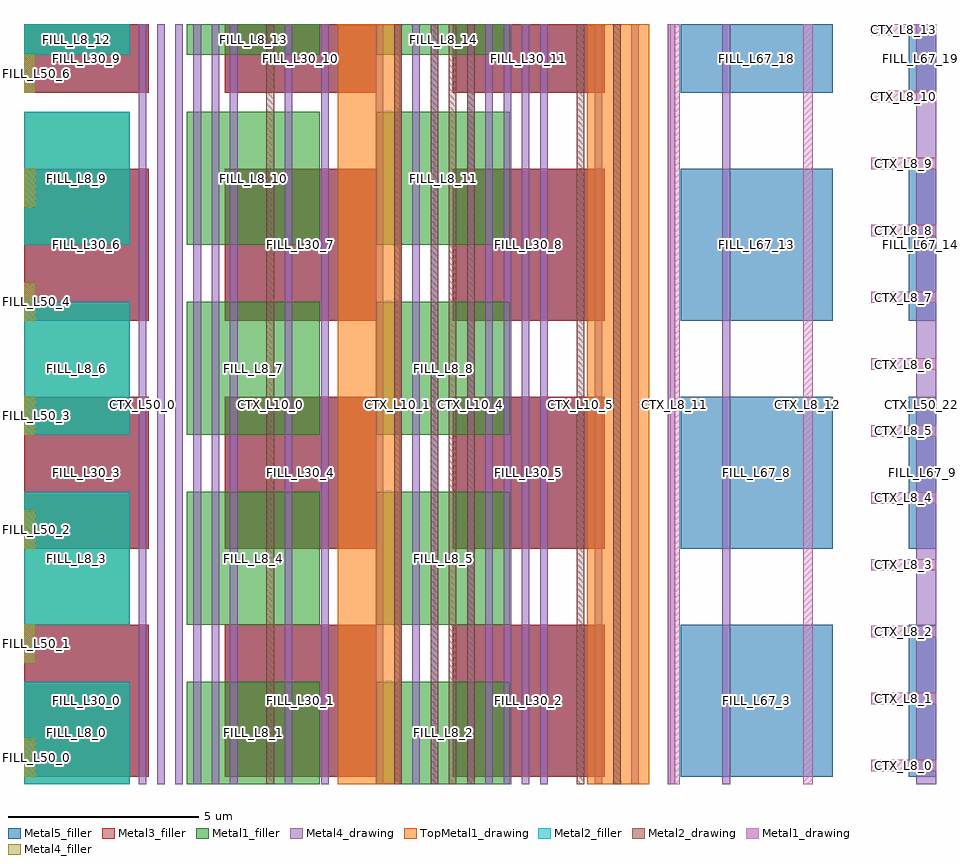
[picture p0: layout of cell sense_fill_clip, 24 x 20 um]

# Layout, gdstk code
import gdstk
lib = gdstk.Library(unit=1e-6, precision=1e-09)
def R(c, l, rs):  # rectangles x0, y0, x1, y1
    for r in rs: c.add(gdstk.rectangle(r[:2], r[2:], *l))
def A(c, l, x, y, w, h, nx, ny, dx, dy):  # array of equal rectangles
    R(c, l, [(x+i*dx, y+j*dy, x+i*dx+w, y+j*dy+h) for i in range(nx) for j in range(ny)])
Metal1_drawing = (8, 0)
Metal1_filler = (8, 22)
Metal2_drawing = (10, 0)
Metal2_filler = (10, 22)
Metal3_filler = (30, 22)
Metal4_drawing = (50, 0)
Metal4_filler = (50, 22)
Metal5_filler = (67, 22)
TopMetal1_drawing = (126, 0)

sense_fill_clip = lib.new_cell('sense_fill_clip')
A(sense_fill_clip, Metal1_drawing, 743.02, 696.15, 1.7, 0.3, 1, 12, 0, 1.76)
R(sense_fill_clip, Metal1_drawing, [(737.72,695.81,737.98,715.81), (741.22,695.81,741.48,715.81)])
A(sense_fill_clip, Metal1_filler, 720.72, 700, 2.78, 3.5, 1, 3, 0, 5)
A(sense_fill_clip, Metal1_filler, 725, 700, 3.5, 3.5, 1, 3, 0, 5)
A(sense_fill_clip, Metal1_filler, 730, 700, 3.5, 3.5, 1, 3, 0, 5)
R(sense_fill_clip, Metal1_filler, [(720.72,695.81,723.5,698.5), (725,695.81,728.5,698.5), (730,695.81,733.5,698.5), (720.72,715,723.5,715.81), (725,715,728.5,715.81), (730,715,733.5,715.81)])
A(sense_fill_clip, Metal2_drawing, 731.42, 695.81, 0.2, 20, 3, 1, 0.48, 0)
R(sense_fill_clip, Metal2_drawing, [(727.1,695.81,727.3,715.81), (730.46,695.81,730.66,715.81), (735.26,695.81,735.46,715.81), (736.22,695.81,736.42,715.81)])
A(sense_fill_clip, Metal2_filler, 720.72, 700, 2.78, 3.5, 1, 3, 0, 5)
R(sense_fill_clip, Metal2_filler, [(720.72,695.81,723.5,698.5), (720.72,715,723.5,715.81)])
A(sense_fill_clip, Metal3_filler, 720.72, 696, 3.28, 4, 1, 3, 0, 6)
A(sense_fill_clip, Metal3_filler, 726, 696, 4, 4, 1, 3, 0, 6)
A(sense_fill_clip, Metal3_filler, 732, 696, 4, 4, 1, 3, 0, 6)
R(sense_fill_clip, Metal3_filler, [(720.72,714,724,715.81), (726,714,730,715.81), (732,714,736,715.81)])
A(sense_fill_clip, Metal4_drawing, 723.74, 695.81, 0.2, 20, 6, 1, 0.48, 0)
A(sense_fill_clip, Metal4_drawing, 729.98, 695.81, 0.2, 20, 4, 1, 0.48, 0)
A(sense_fill_clip, Metal4_drawing, 732.38, 695.81, 0.2, 20, 5, 1, 0.48, 0)
A(sense_fill_clip, Metal4_drawing, 735.74, 695.81, 0.2, 20, 3, 1, 0.48, 0)
R(sense_fill_clip, Metal4_drawing, [(727.58,695.81,727.78,715.81), (728.54,695.81,728.74,715.81), (737.66,695.81,737.86,715.81), (739.1,695.81,739.3,715.81), (744.2,695.81,744.72,715.81)])
A(sense_fill_clip, Metal4_filler, 720.72, 696, 0.28, 1, 1, 7, 0, 3)
A(sense_fill_clip, Metal5_filler, 720.72, 696, 3.28, 4, 1, 3, 0, 6)
A(sense_fill_clip, Metal5_filler, 726, 696, 4, 4, 3, 3, 6, 6)
A(sense_fill_clip, Metal5_filler, 744, 696, 0.72, 4, 1, 3, 0, 6)
A(sense_fill_clip, Metal5_filler, 726, 714, 4, 1.81, 3, 1, 6, 0)
R(sense_fill_clip, Metal5_filler, [(720.72,714,724,715.81), (744,714,744.72,715.81)])
R(sense_fill_clip, TopMetal1_drawing, [(728.98,695.81,730.62,715.81), (735.54,695.81,737.18,715.81)])
sense_fill_clip.add(gdstk.Label('CTX_L8_0', (743.87,696.3), layer=8, texttype=25))
sense_fill_clip.add(gdstk.Label('CTX_L8_1', (743.87,698.06), layer=8, texttype=25))
sense_fill_clip.add(gdstk.Label('CTX_L8_2', (743.87,699.82), layer=8, texttype=25))
sense_fill_clip.add(gdstk.Label('CTX_L8_3', (743.87,701.58), layer=8, texttype=25))
sense_fill_clip.add(gdstk.Label('CTX_L8_4', (743.87,703.34), layer=8, texttype=25))
sense_fill_clip.add(gdstk.Label('CTX_L8_5', (743.87,705.1), layer=8, texttype=25))
sense_fill_clip.add(gdstk.Label('CTX_L8_6', (743.87,706.86), layer=8, texttype=25))
sense_fill_clip.add(gdstk.Label('CTX_L8_7', (743.87,708.62), layer=8, texttype=25))
sense_fill_clip.add(gdstk.Label('CTX_L8_8', (743.87,710.38), layer=8, texttype=25))
sense_fill_clip.add(gdstk.Label('CTX_L8_9', (743.87,712.14), layer=8, texttype=25))
sense_fill_clip.add(gdstk.Label('CTX_L8_10', (743.87,713.9), layer=8, texttype=25))
sense_fill_clip.add(gdstk.Label('CTX_L8_11', (737.85,705.81), layer=8, texttype=25))
sense_fill_clip.add(gdstk.Label('CTX_L8_12', (741.35,705.81), layer=8, texttype=25))
sense_fill_clip.add(gdstk.Label('CTX_L8_13', (743.87,715.66), layer=8, texttype=25))
sense_fill_clip.add(gdstk.Label('FILL_L8_0', (722.11,697.155), layer=8, texttype=25))
sense_fill_clip.add(gdstk.Label('FILL_L8_1', (726.75,697.155), layer=8, texttype=25))
sense_fill_clip.add(gdstk.Label('FILL_L8_2', (731.75,697.155), layer=8, texttype=25))
sense_fill_clip.add(gdstk.Label('FILL_L8_3', (722.11,701.75), layer=8, texttype=25))
sense_fill_clip.add(gdstk.Label('FILL_L8_4', (726.75,701.75), layer=8, texttype=25))
sense_fill_clip.add(gdstk.Label('FILL_L8_5', (731.75,701.75), layer=8, texttype=25))
sense_fill_clip.add(gdstk.Label('FILL_L8_6', (722.11,706.75), layer=8, texttype=25))
sense_fill_clip.add(gdstk.Label('FILL_L8_7', (726.75,706.75), layer=8, texttype=25))
sense_fill_clip.add(gdstk.Label('FILL_L8_8', (731.75,706.75), layer=8, texttype=25))
sense_fill_clip.add(gdstk.Label('FILL_L8_9', (722.11,711.75), layer=8, texttype=25))
sense_fill_clip.add(gdstk.Label('FILL_L8_10', (726.75,711.75), layer=8, texttype=25))
sense_fill_clip.add(gdstk.Label('FILL_L8_11', (731.75,711.75), layer=8, texttype=25))
sense_fill_clip.add(gdstk.Label('FILL_L8_12', (722.11,715.405), layer=8, texttype=25))
sense_fill_clip.add(gdstk.Label('FILL_L8_13', (726.75,715.405), layer=8, texttype=25))
sense_fill_clip.add(gdstk.Label('FILL_L8_14', (731.75,715.405), layer=8, texttype=25))
sense_fill_clip.add(gdstk.Label('CTX_L10_0', (727.2,705.81), layer=10, texttype=25))
sense_fill_clip.add(gdstk.Label('CTX_L10_1', (730.56,705.81), layer=10, texttype=25))
sense_fill_clip.add(gdstk.Label('CTX_L10_2', (731.52,705.81), layer=10, texttype=25))
sense_fill_clip.add(gdstk.Label('CTX_L10_3', (732,705.81), layer=10, texttype=25))
sense_fill_clip.add(gdstk.Label('CTX_L10_4', (732.48,705.81), layer=10, texttype=25))
sense_fill_clip.add(gdstk.Label('CTX_L10_5', (735.36,705.81), layer=10, texttype=25))
sense_fill_clip.add(gdstk.Label('CTX_L10_6', (736.32,705.81), layer=10, texttype=25))
sense_fill_clip.add(gdstk.Label('FILL_L10_0', (722.11,697.155), layer=10, texttype=25))
sense_fill_clip.add(gdstk.Label('FILL_L10_1', (722.11,701.75), layer=10, texttype=25))
sense_fill_clip.add(gdstk.Label('FILL_L10_2', (722.11,706.75), layer=10, texttype=25))
sense_fill_clip.add(gdstk.Label('FILL_L10_3', (722.11,711.75), layer=10, texttype=25))
sense_fill_clip.add(gdstk.Label('FILL_L10_4', (722.11,715.405), layer=10, texttype=25))
sense_fill_clip.add(gdstk.Label('FILL_L30_0', (722.36,698), layer=30, texttype=25))
sense_fill_clip.add(gdstk.Label('FILL_L30_1', (728,698), layer=30, texttype=25))
sense_fill_clip.add(gdstk.Label('FILL_L30_2', (734,698), layer=30, texttype=25))
sense_fill_clip.add(gdstk.Label('FILL_L30_3', (722.36,704), layer=30, texttype=25))
sense_fill_clip.add(gdstk.Label('FILL_L30_4', (728,704), layer=30, texttype=25))
sense_fill_clip.add(gdstk.Label('FILL_L30_5', (734,704), layer=30, texttype=25))
sense_fill_clip.add(gdstk.Label('FILL_L30_6', (722.36,710), layer=30, texttype=25))
sense_fill_clip.add(gdstk.Label('FILL_L30_7', (728,710), layer=30, texttype=25))
sense_fill_clip.add(gdstk.Label('FILL_L30_8', (734,710), layer=30, texttype=25))
sense_fill_clip.add(gdstk.Label('FILL_L30_9', (722.36,714.905), layer=30, texttype=25))
sense_fill_clip.add(gdstk.Label('FILL_L30_10', (728,714.905), layer=30, texttype=25))
sense_fill_clip.add(gdstk.Label('FILL_L30_11', (734,714.905), layer=30, texttype=25))
sense_fill_clip.add(gdstk.Label('CTX_L50_0', (723.84,705.81), layer=50, texttype=25))
sense_fill_clip.add(gdstk.Label('CTX_L50_1', (724.32,705.81), layer=50, texttype=25))
sense_fill_clip.add(gdstk.Label('CTX_L50_2', (724.8,705.81), layer=50, texttype=25))
sense_fill_clip.add(gdstk.Label('CTX_L50_3', (725.28,705.81), layer=50, texttype=25))
sense_fill_clip.add(gdstk.Label('CTX_L50_4', (725.76,705.81), layer=50, texttype=25))
sense_fill_clip.add(gdstk.Label('CTX_L50_5', (726.24,705.81), layer=50, texttype=25))
sense_fill_clip.add(gdstk.Label('CTX_L50_6', (727.68,705.81), layer=50, texttype=25))
sense_fill_clip.add(gdstk.Label('CTX_L50_7', (728.64,705.81), layer=50, texttype=25))
sense_fill_clip.add(gdstk.Label('CTX_L50_8', (730.08,705.81), layer=50, texttype=25))
sense_fill_clip.add(gdstk.Label('CTX_L50_9', (730.56,705.81), layer=50, texttype=25))
sense_fill_clip.add(gdstk.Label('CTX_L50_10', (731.04,705.81), layer=50, texttype=25))
sense_fill_clip.add(gdstk.Label('CTX_L50_11', (731.52,705.81), layer=50, texttype=25))
sense_fill_clip.add(gdstk.Label('N', (732.48,705.81), layer=50, texttype=25))
sense_fill_clip.add(gdstk.Label('P', (732.96,705.81), layer=50, texttype=25))
sense_fill_clip.add(gdstk.Label('CTX_L50_14', (733.44,705.81), layer=50, texttype=25))
sense_fill_clip.add(gdstk.Label('CTX_L50_15', (733.92,705.81), layer=50, texttype=25))
sense_fill_clip.add(gdstk.Label('CTX_L50_16', (734.4,705.81), layer=50, texttype=25))
sense_fill_clip.add(gdstk.Label('CTX_L50_17', (735.84,705.81), layer=50, texttype=25))
sense_fill_clip.add(gdstk.Label('CTX_L50_18', (736.32,705.81), layer=50, texttype=25))
sense_fill_clip.add(gdstk.Label('CTX_L50_19', (736.8,705.81), layer=50, texttype=25))
sense_fill_clip.add(gdstk.Label('CTX_L50_20', (737.76,705.81), layer=50, texttype=25))
sense_fill_clip.add(gdstk.Label('CTX_L50_21', (739.2,705.81), layer=50, texttype=25))
sense_fill_clip.add(gdstk.Label('CTX_L50_22', (744.46,705.81), layer=50, texttype=25))
sense_fill_clip.add(gdstk.Label('FILL_L50_0', (720.86,696.5), layer=50, texttype=25))
sense_fill_clip.add(gdstk.Label('FILL_L50_1', (720.86,699.5), layer=50, texttype=25))
sense_fill_clip.add(gdstk.Label('FILL_L50_2', (720.86,702.5), layer=50, texttype=25))
sense_fill_clip.add(gdstk.Label('FILL_L50_3', (720.86,705.5), layer=50, texttype=25))
sense_fill_clip.add(gdstk.Label('FILL_L50_4', (720.86,708.5), layer=50, texttype=25))
sense_fill_clip.add(gdstk.Label('FILL_L50_5', (720.86,711.5), layer=50, texttype=25))
sense_fill_clip.add(gdstk.Label('FILL_L50_6', (720.86,714.5), layer=50, texttype=25))
sense_fill_clip.add(gdstk.Label('FILL_L67_0', (722.36,698), layer=67, texttype=25))
sense_fill_clip.add(gdstk.Label('FILL_L67_1', (728,698), layer=67, texttype=25))
sense_fill_clip.add(gdstk.Label('FILL_L67_2', (734,698), layer=67, texttype=25))
sense_fill_clip.add(gdstk.Label('FILL_L67_3', (740,698), layer=67, texttype=25))
sense_fill_clip.add(gdstk.Label('FILL_L67_4', (744.36,698), layer=67, texttype=25))
sense_fill_clip.add(gdstk.Label('FILL_L67_5', (722.36,704), layer=67, texttype=25))
sense_fill_clip.add(gdstk.Label('FILL_L67_6', (728,704), layer=67, texttype=25))
sense_fill_clip.add(gdstk.Label('FILL_L67_7', (734,704), layer=67, texttype=25))
sense_fill_clip.add(gdstk.Label('FILL_L67_8', (740,704), layer=67, texttype=25))
sense_fill_clip.add(gdstk.Label('FILL_L67_9', (744.36,704), layer=67, texttype=25))
sense_fill_clip.add(gdstk.Label('FILL_L67_10', (722.36,710), layer=67, texttype=25))
sense_fill_clip.add(gdstk.Label('FILL_L67_11', (728,710), layer=67, texttype=25))
sense_fill_clip.add(gdstk.Label('FILL_L67_12', (734,710), layer=67, texttype=25))
sense_fill_clip.add(gdstk.Label('FILL_L67_13', (740,710), layer=67, texttype=25))
sense_fill_clip.add(gdstk.Label('FILL_L67_14', (744.36,710), layer=67, texttype=25))
sense_fill_clip.add(gdstk.Label('FILL_L67_15', (722.36,714.905), layer=67, texttype=25))
sense_fill_clip.add(gdstk.Label('FILL_L67_16', (728,714.905), layer=67, texttype=25))
sense_fill_clip.add(gdstk.Label('FILL_L67_17', (734,714.905), layer=67, texttype=25))
sense_fill_clip.add(gdstk.Label('FILL_L67_18', (740,714.905), layer=67, texttype=25))
sense_fill_clip.add(gdstk.Label('FILL_L67_19', (744.36,714.905), layer=67, texttype=25))
sense_fill_clip.add(gdstk.Label('CTX_L126_0', (729.8,705.81), layer=126, texttype=25))
sense_fill_clip.add(gdstk.Label('CTX_L126_1', (736.36,705.81), layer=126, texttype=25))

lib.write_gds('sense_fill_clip.gds')
